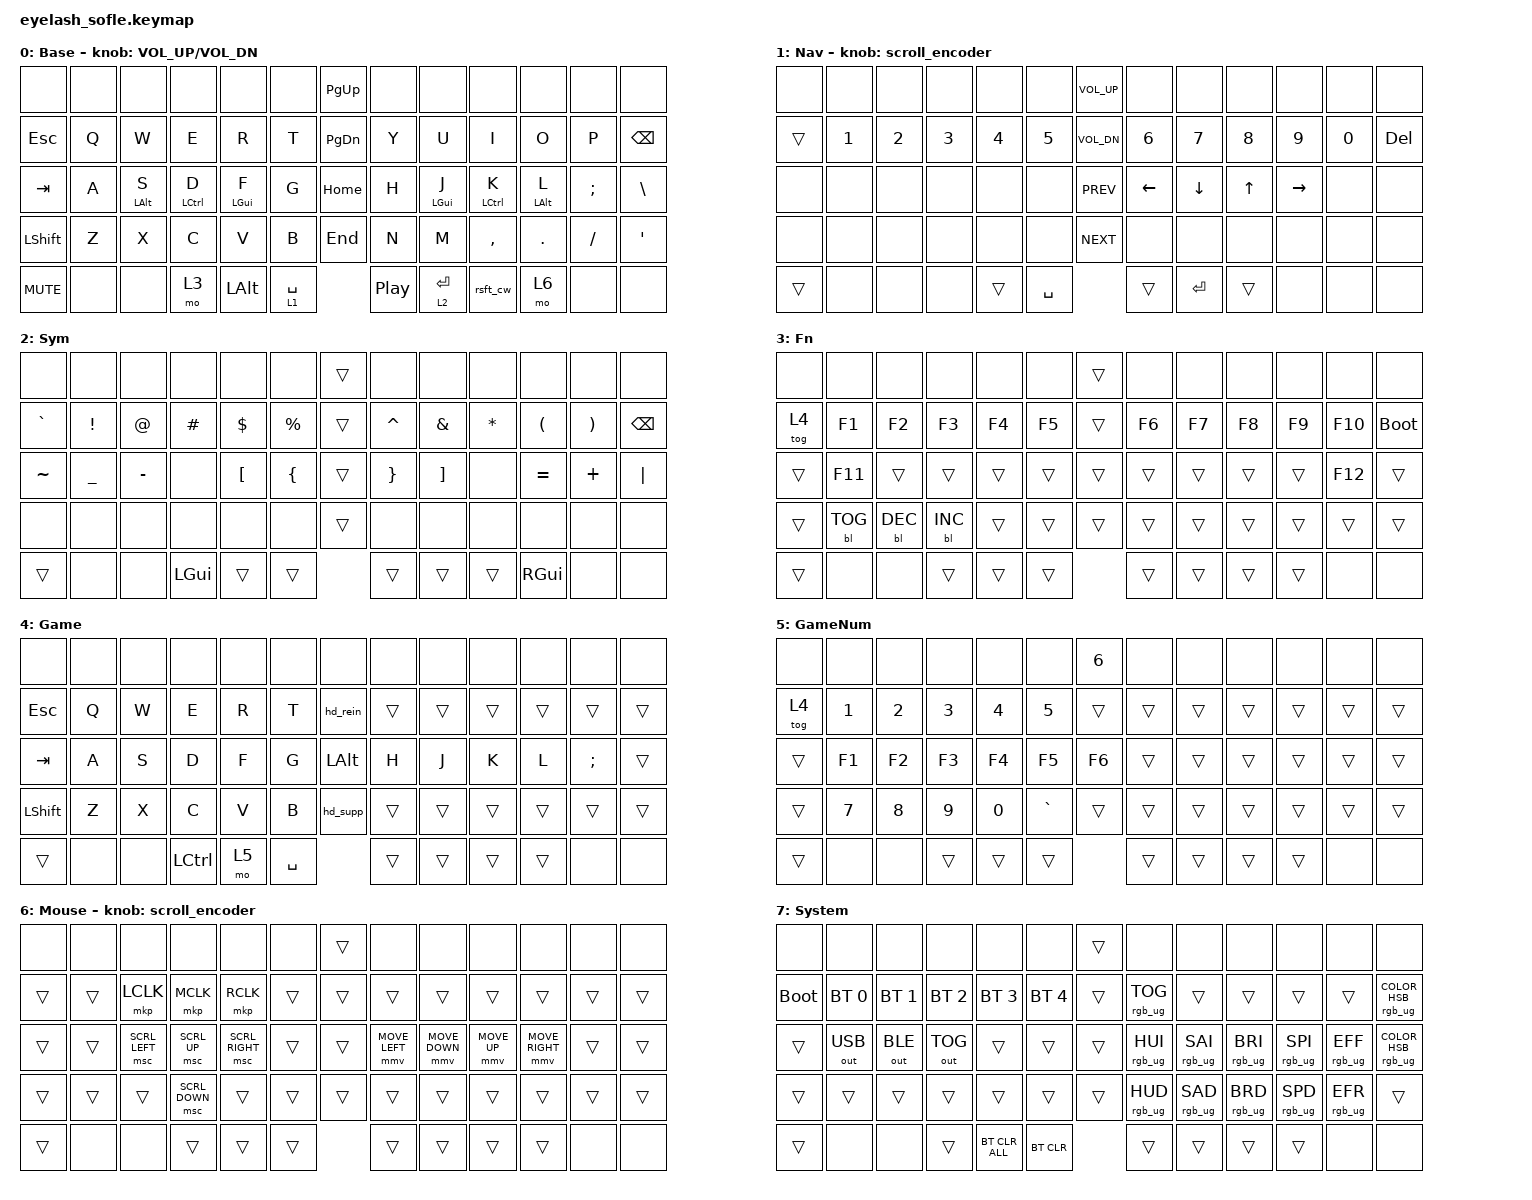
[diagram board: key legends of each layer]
#define ZMK_POINTING_DEFAULT_MOVE_VAL 1200  // 600
#define ZMK_POINTING_DEFAULT_SCRL_VAL 25    // 10

#include <input/processors.dtsi>
#include <zephyr/dt-bindings/input/input-event-codes.h>
#include <behaviors.dtsi>
#include <dt-bindings/zmk/backlight.h>
#include <dt-bindings/zmk/bt.h>
#include <dt-bindings/zmk/keys.h>
#include <dt-bindings/zmk/outputs.h>
#include <dt-bindings/zmk/pointing.h>
#include <dt-bindings/zmk/rgb.h>

// Layout ported from the Corne (../crone, keyboards/crkbd/rev4_1/standard/keymaps/via).
//
// Corne 3x6 grid    -> Sofle rows 2-4 (Q / A / Z rows).
// Corne 3 thumbs    -> Sofle's three innermost thumb keys per side.
// Corne inner keys  -> joystick: left-top = up, right-top = down,
//                      left-lower = left, right-lower = right.
// Sofle number row and the two outer thumb keys per side are &none on every layer.
//
// Layers: 0 Base, 1 Nav, 2 Sym, 3 Fn, 4 Game, 5 GameNum, 6 Mouse, 7 System.
//
// Key positions (for hold-trigger-key-positions):
//    0- 5 |  6 |  7-12      number row (6 = joystick up)
//   13-18 | 19 | 20-25      Q row      (19 = joystick down)
//   26-31 | 32 | 33-38      A row      (32 = joystick left)
//   39-44 | 45 | 46-51      Z row      (45 = joystick right)
//   52 encoder press, 53 54 55 56 57 | 58 joystick press | 59 60 61 62 63

&mmv_input_listener { input-processors = <&zip_xy_scaler 2 1>; };

&msc_input_listener { input-processors = <&zip_scroll_scaler 2 1>; };

&msc {
    acceleration-exponent = <1>;      // 0
    time-to-max-speed-ms = <100>;       // 300
    delay-ms = <0>;                   // 0
};

&mmv {
    time-to-max-speed-ms = <500>;
    acceleration-exponent = <1>;
    trigger-period-ms = <16>;
};

/ {
    scroll_encoder: scroll_encoder {
        compatible = "zmk,behavior-sensor-rotate";
        #sensor-binding-cells = <0>;
        bindings = <&msc SCRL_DOWN>, <&msc SCRL_UP>;

        tap-ms = <100>;
    };

    behaviors {
        // Home row mods, matching the Corne's QMK settings:
        //   250 ms tapping term + Permissive Hold  -> balanced, 250 ms
        //   Chordal Hold (hold only across hands)  -> hold-trigger-key-positions = other hand + thumbs/joystick
        //   Flow Tap 150 ms                        -> require-prior-idle-ms = 150
        //   Retro Tapping off                      -> no retro-tap
        hml: home_row_mod_left {
            compatible = "zmk,behavior-hold-tap";
            #binding-cells = <2>;
            bindings = <&kp>, <&kp>;
            flavor = "balanced";
            tapping-term-ms = <250>;
            quick-tap-ms = <250>;
            require-prior-idle-ms = <150>;
            hold-trigger-key-positions = <
                7 8 9 10 11 12  20 21 22 23 24 25  33 34 35 36 37 38  46 47 48 49 50 51
                6 19 32 45  52 53 54 55 56 57 58 59 60 61 62 63
            >;
            hold-trigger-on-release;
        };

        hmr: home_row_mod_right {
            compatible = "zmk,behavior-hold-tap";
            #binding-cells = <2>;
            bindings = <&kp>, <&kp>;
            flavor = "balanced";
            tapping-term-ms = <250>;
            quick-tap-ms = <250>;
            require-prior-idle-ms = <150>;
            hold-trigger-key-positions = <
                0 1 2 3 4 5  13 14 15 16 17 18  26 27 28 29 30 31  39 40 41 42 43 44
                6 19 32 45  52 53 54 55 56 57 58 59 60 61 62 63
            >;
            hold-trigger-on-release;
        };

        // Space/Enter layer keys: shorter 200 ms term, no Flow Tap, either hand.
        lt_th: thumb_layer_tap {
            compatible = "zmk,behavior-hold-tap";
            #binding-cells = <2>;
            bindings = <&mo>, <&kp>;
            flavor = "balanced";
            tapping-term-ms = <200>;
            quick-tap-ms = <250>;
        };

        // Right thumb Shift: double-tap for Caps Word.
        rsft_cw: rshift_caps_word {
            compatible = "zmk,behavior-tap-dance";
            #binding-cells = <0>;
            tapping-term-ms = <250>;
            bindings = <&kp RSHFT>, <&caps_word>;
        };
    };

    macros {
        // Helldivers 2 stratagems: tap Left Ctrl (stratagem menu, set to toggle
        // in-game), wait 80 ms, then the code on HJKL, each key held 35 ms with a
        // 35 ms gap. Raise the delays if the game drops inputs.
        hd_rein: hd_reinforce {
            compatible = "zmk,behavior-macro";
            #binding-cells = <0>;
            tap-ms = <35>;
            wait-ms = <80>;
            bindings
                = <&macro_tap &kp LCTRL>
                , <&macro_wait_time 35>
                , <&macro_tap &kp K &kp J &kp L &kp H &kp K>  // up down right left up
                ;
        };

        hd_supp: hd_resupply {
            compatible = "zmk,behavior-macro";
            #binding-cells = <0>;
            tap-ms = <35>;
            wait-ms = <80>;
            bindings
                = <&macro_tap &kp LCTRL>
                , <&macro_wait_time 35>
                , <&macro_tap &kp J &kp J &kp K &kp L>  // down down up right
                ;
        };
    };

    // Hold both outer Corne thumbs (Fn + Mouse) for Bluetooth / output / RGB.
    conditional_layers {
        compatible = "zmk,conditional-layers";

        system {
            if-layers = <3 6>;
            then-layer = <7>;
        };
    };

    keymap {
        compatible = "zmk,keymap";

        Base {
            bindings = <
&none       &none         &none            &none             &none            &none     &kp PG_UP         &none      &none            &none             &none            &none      &none
&kp ESC     &kp Q         &kp W            &kp E             &kp R            &kp T     &kp PG_DN         &kp Y      &kp U            &kp I             &kp O            &kp P      &kp BACKSPACE
&kp TAB     &kp A         &hml LALT S      &hml LCTRL D      &hml LGUI F      &kp G     &kp HOME          &kp H      &hmr LGUI J      &hmr LCTRL K      &hmr LALT L      &kp SEMI   &kp BSLH
&kp LSHFT   &kp Z         &kp X            &kp C             &kp V            &kp B     &kp END           &kp N      &kp M            &kp COMMA         &kp DOT          &kp FSLH   &kp APOS
&kp C_MUTE  &none         &none            &mo 3             &kp LALT         &lt_th 1 SPACE  &kp C_PLAY_PAUSE  &lt_th 2 ENTER  &rsft_cw  &mo 6     &none            &none
            >;

            sensor-bindings = <&inc_dec_kp C_VOLUME_UP C_VOL_DN>;
            display-name = "Base";
        };

        Nav {
            bindings = <
&none    &none     &none     &none     &none     &none     &kp C_VOL_UP  &none       &none       &none     &none        &none   &none
&trans   &kp N1    &kp N2    &kp N3    &kp N4    &kp N5    &kp C_VOL_DN  &kp N6      &kp N7      &kp N8    &kp N9       &kp N0  &kp DELETE
&none    &none     &none     &none     &none     &none     &kp C_PREV    &kp LEFT    &kp DOWN    &kp UP    &kp RIGHT    &none   &none
&none    &none     &none     &none     &none     &none     &kp C_NEXT    &none       &none       &none     &none        &none   &none
&trans   &none     &none     &none     &trans    &kp SPACE &trans        &kp ENTER   &trans      &none     &none        &none
            >;

            sensor-bindings = <&scroll_encoder>;
            display-name = "Nav";
        };

        Sym {
            bindings = <
&none       &none       &none       &none       &none       &none       &trans  &none       &none       &none       &none       &none       &none
&kp GRAVE   &kp EXCL    &kp AT      &kp HASH    &kp DLLR    &kp PRCNT   &trans  &kp CARET   &kp AMPS    &kp STAR    &kp LPAR    &kp RPAR    &kp BACKSPACE
&kp TILDE   &kp UNDER   &kp MINUS   &none       &kp LBKT    &kp LBRC    &trans  &kp RBRC    &kp RBKT    &none       &kp EQUAL   &kp PLUS    &kp PIPE
&none       &none       &none       &none       &none       &none       &trans  &none       &none       &none       &none       &none       &none
&trans      &none       &none       &kp LGUI    &trans      &trans      &trans  &trans      &trans      &kp RGUI    &none       &none
            >;

            display-name = "Sym";
        };

        Fn {
            bindings = <
&none    &none        &none        &none        &none    &none    &trans  &none    &none    &none    &none    &none    &none
&tog 4   &kp F1       &kp F2       &kp F3       &kp F4   &kp F5   &trans  &kp F6   &kp F7   &kp F8   &kp F9   &kp F10  &bootloader
&trans   &kp F11      &trans       &trans       &trans   &trans   &trans  &trans   &trans   &trans   &trans   &kp F12  &trans
&trans   &bl BL_TOG   &bl BL_DEC   &bl BL_INC   &trans   &trans   &trans  &trans   &trans   &trans   &trans   &trans   &trans
&trans   &none        &none        &trans       &trans   &trans   &trans  &trans   &trans   &trans   &none    &none
            >;

            display-name = "Fn";
        };

        // Gaming: no tap-hold keys on the left half, plain Space, GUI disabled.
        // Joystick down/right are Helldivers 2 stratagems, right home row is plain HJKL;
        // the rest of the right half falls through to Base for chat.
        Game {
            bindings = <
&none      &none    &none    &none    &none    &none    &none        &none    &none    &none    &none    &none     &none
&kp ESC    &kp Q    &kp W    &kp E    &kp R    &kp T    &hd_rein     &trans   &trans   &trans   &trans   &trans    &trans
&kp TAB    &kp A    &kp S    &kp D    &kp F    &kp G    &kp LALT     &kp H    &kp J    &kp K    &kp L    &kp SEMI  &trans
&kp LSHFT  &kp Z    &kp X    &kp C    &kp V    &kp B    &hd_supp     &trans   &trans   &trans   &trans   &trans    &trans
&trans     &none    &none    &kp LCTRL  &mo 5  &kp SPACE  &trans     &trans   &trans   &trans   &none    &none
            >;

            display-name = "Game";
        };

        // Held from Game: numbers and F-keys near WASD. Top-left leaves gaming mode.
        GameNum {
            bindings = <
&none    &none    &none    &none    &none    &none      &kp N6   &none    &none    &none    &none    &none    &none
&tog 4   &kp N1   &kp N2   &kp N3   &kp N4   &kp N5     &trans   &trans   &trans   &trans   &trans   &trans   &trans
&trans   &kp F1   &kp F2   &kp F3   &kp F4   &kp F5     &kp F6   &trans   &trans   &trans   &trans   &trans   &trans
&trans   &kp N7   &kp N8   &kp N9   &kp N0   &kp GRAVE  &trans   &trans   &trans   &trans   &trans   &trans   &trans
&trans   &none    &none    &trans   &trans   &trans     &trans   &trans   &trans   &trans   &none    &none
            >;

            display-name = "GameNum";
        };

        Mouse {
            bindings = <
&none   &none   &none           &none           &none            &none     &trans  &none           &none           &none         &none            &none   &none
&trans  &trans  &mkp LCLK       &mkp MCLK       &mkp RCLK        &trans    &trans  &trans          &trans          &trans        &trans           &trans  &trans
&trans  &trans  &msc SCRL_LEFT  &msc SCRL_UP    &msc SCRL_RIGHT  &trans    &trans  &mmv MOVE_LEFT  &mmv MOVE_DOWN  &mmv MOVE_UP  &mmv MOVE_RIGHT  &trans  &trans
&trans  &trans  &trans          &msc SCRL_DOWN  &trans           &trans    &trans  &trans          &trans          &trans        &trans           &trans  &trans
&trans  &none   &none           &trans          &trans           &trans    &trans  &trans          &trans          &trans        &none            &none
            >;

            sensor-bindings = <&scroll_encoder>;
            display-name = "Mouse";
        };

        System {
            bindings = <
&none         &none         &none         &none         &none           &none         &trans  &none            &none            &none            &none            &none            &none
&bootloader   &bt BT_SEL 0  &bt BT_SEL 1  &bt BT_SEL 2  &bt BT_SEL 3    &bt BT_SEL 4  &trans  &rgb_ug RGB_TOG  &trans           &trans           &trans           &trans           &rgb_ug RGB_COLOR_HSB(0,0,100)
&trans        &out OUT_USB  &out OUT_BLE  &out OUT_TOG  &trans          &trans        &trans  &rgb_ug RGB_HUI  &rgb_ug RGB_SAI  &rgb_ug RGB_BRI  &rgb_ug RGB_SPI  &rgb_ug RGB_EFF  &rgb_ug RGB_COLOR_HSB(19,100,33)
&trans        &trans        &trans        &trans        &trans          &trans        &trans  &rgb_ug RGB_HUD  &rgb_ug RGB_SAD  &rgb_ug RGB_BRD  &rgb_ug RGB_SPD  &rgb_ug RGB_EFR  &trans
&trans        &none         &none         &trans        &bt BT_CLR_ALL  &bt BT_CLR    &trans  &trans           &trans           &trans           &none            &none
            >;

            display-name = "System";
        };
    };
};
